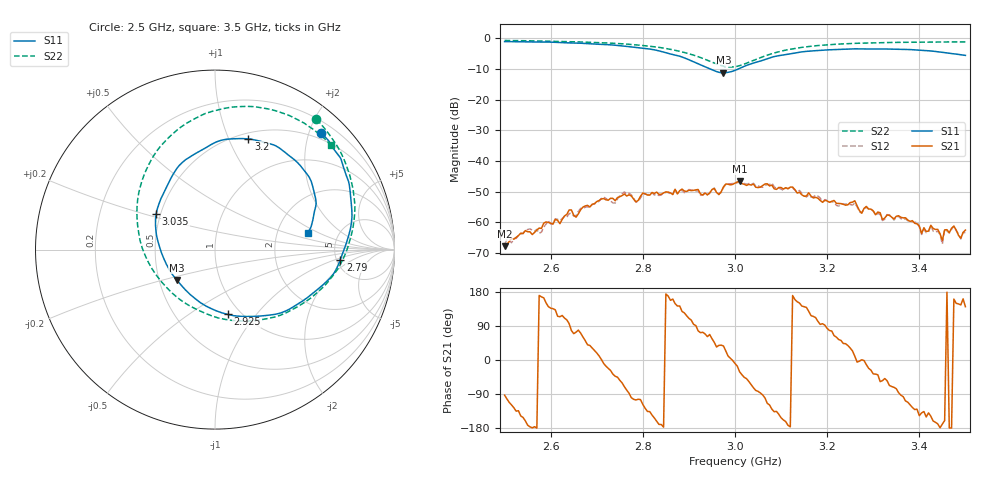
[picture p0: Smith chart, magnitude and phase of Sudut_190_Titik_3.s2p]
# Hz S RI R 50
! CMT, C1220, 16058040, 17.2.0/1
! Date: 15/08/2018 10:42:42
! Data: Format (Calibration Info)
! Freq  S11: Re/Im (F2)  S21: Re/Im (F2)  S12: Re/Im (F2)  S22: Re/Im (F2)
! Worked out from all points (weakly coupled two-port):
!   201 points, 2.5 GHz to 3.5 GHz, reference 50 ohm
!   highest |S21| = -46.58 dB at 3.01 GHz (marker M1); lowest = -67.8 dB at 2.5 GHz (marker M2)
!   lowest |S11| = -11.3 dB at 2.975 GHz (marker M3), VSWR 1.75, Z = 30.8 - j11.3 ohm
!   |S11| at or under -10 dB: 2.946 GHz to 3.008 GHz (61.94 MHz wide, 2.08 % of centre)
!   |S22| runs from -9.4 to -0.7 dB; largest |S21 - S12| = 0.00038
!   S11 on the Smith chart (normalised r, x): 2.5 GHz: 0.38, +2.21; 2.79 GHz: 5.40, -1.19; 2.925 GHz: 0.87, -0.73; 3.035 GHz: 0.47, +0.22; 3.2 GHz: 0.56, +1.18; 3.5 GHz: 2.99, +0.75
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2.5e9  0.5922 0.6515  -2.06e-05 -0.000406  -3.27e-05 -0.000431  0.5645 0.7249
2.67e9  0.7508 0.342  0.000864 0.00154  0.000938 0.00141  0.7378 0.4532
2.74e9  0.7571 0.1302  0.00164 -0.00152  0.00162 -0.00126  0.7768 0.2739
2.76e9  0.7392 0.0593  0.000962 -0.00272  0.00108 -0.00293  0.7784 0.2111
2.79e9  0.6982 -0.0562  -0.00053 -0.00221  -0.00061 -0.00208  0.7656 0.1063
2.835e9  0.5848 -0.2107  -0.0028 -0.000494  -0.00265 -0.000617  0.7055 -0.069
2.925e9  0.0699 -0.3609  0.000881 0.00274  0.000774 0.00263  0.2945 -0.3839
2.975e9  -0.2133 -0.1696  0.00301 0.00227  0.00295 0.0022  -0.0991 -0.3349
3e9  -0.2986 -0.0169  0.00428 -0.000694  0.00428 -0.000873  -0.2721 -0.2085
3.01e9  -0.3183 0.0473  0.00401 -0.00242  0.00389 -0.00221  -0.3276 -0.1414
3.035e9  -0.3282 0.1972  0.00172 -0.00365  0.00177 -0.00371  -0.4173 0.0489
3.17e9  0.0856 0.6166  -0.00105 0.00225  -0.00126 0.00225  -0.0908 0.7409
3.2e9  0.1859 0.6169  0.000258 0.00221  0.000396 0.00226  0.02 0.779
3.335e9  0.4899 0.4495  0.000505 -0.00119  0.000488 -0.00122  0.3936 0.7549
3.395e9  0.5492 0.3311  -0.000602 -0.000723  -0.000697 -0.000742  0.5042 0.6994
3.405e9  0.556 0.3047  -0.000497 -0.000424  -0.000481 -0.000408  0.5198 0.688
3.425e9  0.5634 0.2575  -0.000758 -0.000467  -0.000763 -0.000456  0.5499 0.668
3.45e9  0.5524 0.2029  -0.000493 -9.59e-05  -0.000426 -0.000101  0.5859 0.6395
3.455e9  0.5496 0.1897  -0.000704 -0.000259  -0.000719 -0.00027  0.5926 0.6344
3.475e9  0.5391 0.139  -0.000815 0.000284  -0.000826 0.000255  0.6165 0.612
3.49e9  0.5262 0.109  -0.000449 0.000311  -0.000456 0.000277  0.6342 0.5937
3.5e9  0.5163 0.0911  -0.000576 0.00047  -0.000468 0.000484  0.6455 0.5828
